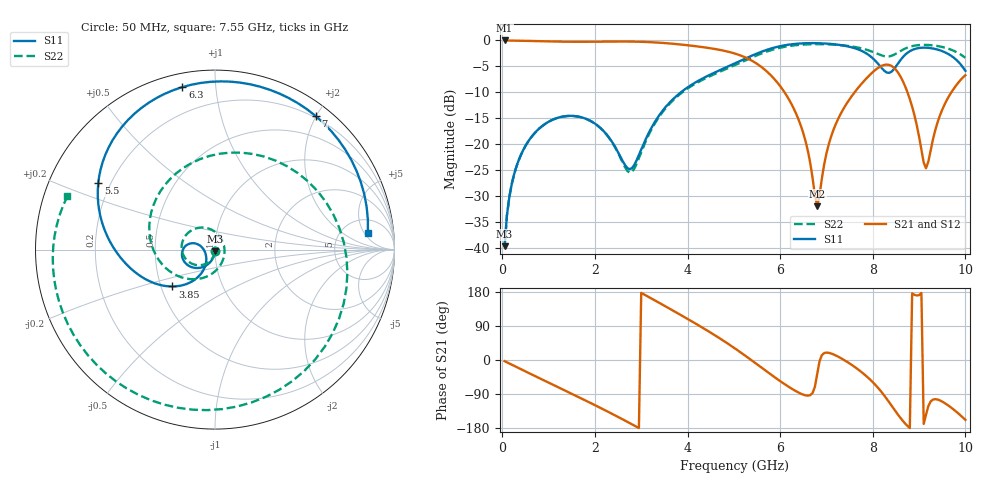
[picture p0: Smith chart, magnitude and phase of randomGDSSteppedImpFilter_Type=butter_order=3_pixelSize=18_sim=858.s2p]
! freq	dB(S11)	phase(S11)	dB(S12)	phase(S12)
!  dB(S21)	phase(S21)	dB(S22)	phase(S22)
!S-par simulation data
#  GHz  S  DB  R 50
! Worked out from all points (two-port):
!   200 points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, 50 MHz to 10 GHz, reference 50 ohm
!   highest |S21| = -0.01 dB at 50 MHz (marker M1); lowest = -32.0 dB at 6.8 GHz (marker M2)
!   |S21| within 3 dB of the highest: start of sweep to 5.174 GHz
!   lowest |S11| = -39.7 dB at 50 MHz (marker M3), VSWR 1.02, Z = 49.9 - j1.03 ohm
!   |S11| at or under -10 dB: start of sweep to 3.858 GHz
!   |S22| runs from -39.7 to -0.7 dB; largest |S21 - S12| = 0
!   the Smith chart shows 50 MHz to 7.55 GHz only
!   S11 on the Smith chart (normalised r, x): 50 MHz: 1.00, -0.02; 3.85 GHz: 0.57, -0.26; 5.5 GHz: 0.15, +0.26; 6.3 GHz: 0.07, +0.82; 7 GHz: 0.18, +2.00; 7.55 GHz: 9, +6
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0.05  -39.70 -92.2  -0.01 -3.1  -0.01 -3.1  -39.71 -92.8
0.2  -27.88 -100.9  -0.03 -12.1  -0.03 -12.1  -27.89 -103.3
0.55  -19.63 -120.2  -0.09 -33.1  -0.09 -33.1  -19.64 -126.9
1.75  -14.95 -179.8  -0.26 -104.1  -0.26 -104.1  -14.96 150.7
2.75  -24.86 -161.3  -0.22 -166.4  -0.22 -166.4  -25.53 9.0
3.4  -14.31 -123.0  -0.44 150.1  -0.44 150.1  -14.56 -119.3
3.85  -10.06 -139.2  -0.79 119.0  -0.79 119.0  -10.28 -164.7
4.45  -6.78 -163.5  -1.45 75.9  -1.45 75.9  -7.05 133.6
5.05  -4.30 172.2  -2.61 28.4  -2.61 28.4  -4.64 62.1
5.5  -2.52 150.4  -4.51 -11.2  -4.51 -11.2  -2.87 3.2
5.85  -1.44 130.1  -7.21 -42.7  -7.21 -42.7  -1.76 -41.6
6.3  -0.69 101.3  -13.27 -79.4  -13.27 -79.4  -0.96 -92.8
6.7  -0.52 74.4  -26.54 -87.3  -26.54 -87.3  -0.73 -131.6
6.8  -0.53 67.4  -32.02 -36.6  -32.02 -36.6  -0.72 -140.5
7  -0.61 53.0  -21.79 19.5  -21.79 19.5  -0.75 -157.4
7.55  -1.34 6.1  -10.70 -13.2  -10.70 -13.2  -1.17 160.1
8.05  -3.88 -66.2  -5.73 -64.8  -5.73 -64.8  -2.39 127.1
8.35  -6.27 -162.8  -4.72 -110.8  -4.72 -110.8  -3.08 117.2
8.7  -2.76 80.1  -8.88 -167.8  -8.88 -167.8  -1.57 101.7
9.1  -1.39 12.1  -23.58 -168.6  -23.58 -168.6  -0.86 71.3
9.6  -2.48 -43.9  -11.49 -117.4  -11.49 -117.4  -1.51 33.8
10  -5.87 -82.4  -6.72 -157.9  -6.72 -157.9  -3.35 6.1
